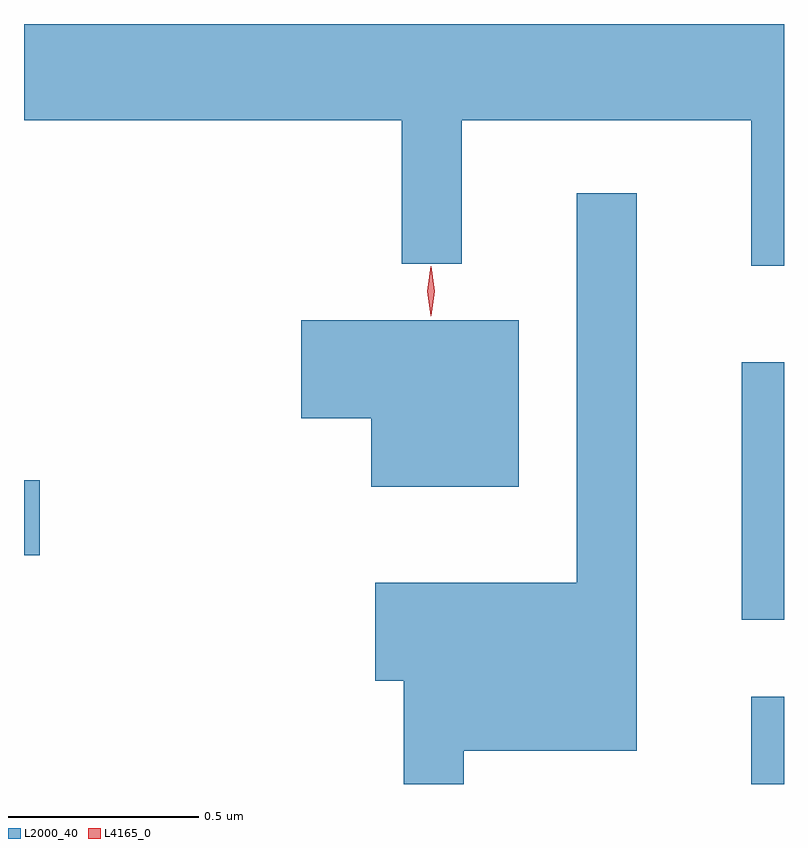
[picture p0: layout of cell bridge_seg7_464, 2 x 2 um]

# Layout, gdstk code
import gdstk
lib = gdstk.Library(unit=1e-6, precision=1e-09)
def R(c, l, rs):  # rectangles x0, y0, x1, y1
    for r in rs: c.add(gdstk.rectangle(r[:2], r[2:], *l))
def P(c, l, *ps):  # polygons
    for p in ps: c.add(gdstk.Polygon(p, *l))
L2000_40 = (2000, 40)
L4165_0 = (4165, 0)

bridge_seg7_464 = lib.new_cell('bridge_seg7_464')
R(bridge_seg7_464, L2000_40, [(1239.706,1714.789,1239.792,1715.018), (1239.681,1715.221,1239.792,1715.899), (1237.792,1715.391,1237.834,1715.589)])
P(bridge_seg7_464, L2000_40, [(1239.792,1716.789),(1237.792,1716.789),(1237.792,1716.536),(1238.786,1716.536),(1238.786,1716.158),(1238.944,1716.158),(1238.944,1716.536),(1239.706,1716.536),(1239.706,1716.153),(1239.792,1716.153)],
  [(1238.949,1714.876),(1239.404,1714.876),(1239.404,1716.343),(1239.246,1716.343),(1239.246,1715.319),(1238.716,1715.319),(1238.716,1715.061),(1238.791,1715.061),(1238.791,1714.789),(1238.949,1714.789)],
  [(1239.094,1716.009),(1238.521,1716.009),(1238.521,1715.751),(1238.706,1715.751),(1238.706,1715.571),(1239.094,1715.571)])
P(bridge_seg7_464, L4165_0, [(1238.863,1716.02),(1238.863,1716.021),(1238.853,1716.086),(1238.863,1716.151),(1238.863,1716.151),(1238.864,1716.151),(1238.873,1716.086),(1238.864,1716.021)])

lib.write_gds('bridge_seg7_464.gds')
